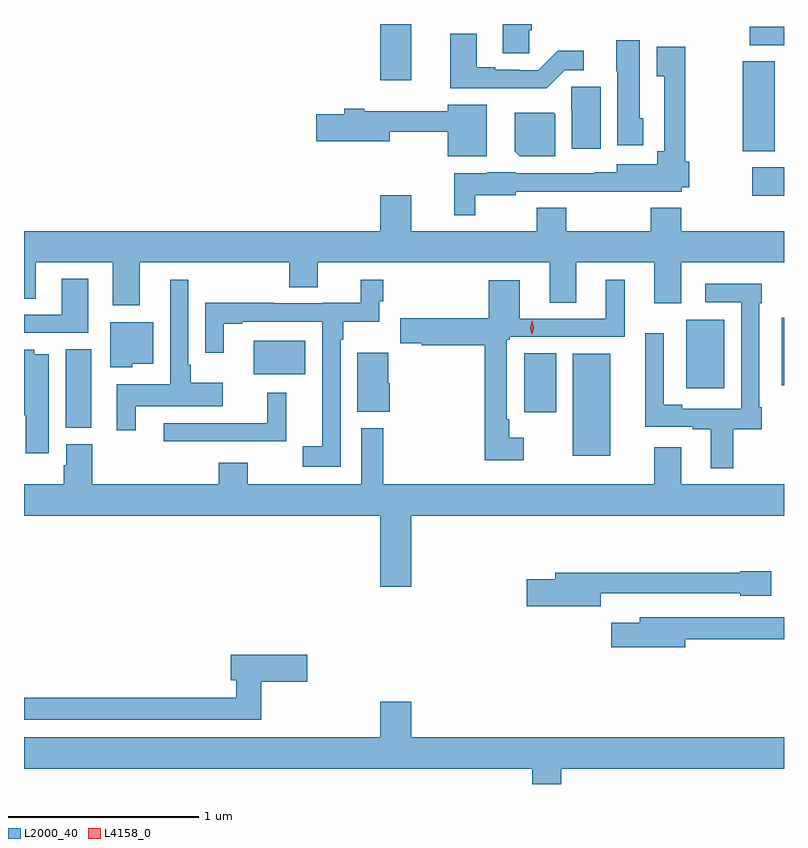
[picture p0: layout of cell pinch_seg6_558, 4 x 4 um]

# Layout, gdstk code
import gdstk
lib = gdstk.Library(unit=1e-6, precision=1e-09)
def R(c, l, rs):  # rectangles x0, y0, x1, y1
    for r in rs: c.add(gdstk.rectangle(r[:2], r[2:], *l))
def P(c, l, *ps):  # polygons
    for p in ps: c.add(gdstk.Polygon(p, *l))
L2000_40 = (2000, 40)
L4158_0 = (4158, 0)

pinch_seg6_558 = lib.new_cell('pinch_seg6_558')
R(pinch_seg6_558, L2000_40, [(585.602,962.303,585.799,962.839), (582.932,962.449,583.066,962.864), (585.347,962.532,585.514,962.843), (586.199,962.657,586.399,963.019), (586.7,962.675,586.713,963.028), (583.922,962.732,584.194,962.908), (586.545,963.671,586.713,963.82), (586.496,963.905,586.663,964.379), (584.588,964.278,584.752,964.575), (586.533,964.464,586.713,964.56)])
P(pinch_seg6_558, L2000_40, [(585.372,964.542),(585.386,964.542),(585.386,964.575),(585.233,964.575),(585.233,964.42),(585.372,964.42)],
  [(585.558,964.332),(585.658,964.332),(585.658,964.435),(585.523,964.435),(585.42,964.332),(585.32,964.332),(585.32,964.335),(585.193,964.335),(585.193,964.348),(585.097,964.348),(585.097,964.525),(584.957,964.525),(584.957,964.238),(585.463,964.238)],
  [(585.971,964.08),(585.955,964.08),(585.955,964.489),(585.83,964.489),(585.83,964.326),(585.836,964.326),(585.836,963.936),(585.971,963.936)],
  [(585.088,963.674),(585.3,963.674),(585.3,963.693),(585.837,963.693),(585.837,963.692),(586.176,963.692),(586.176,963.716),(586.213,963.716),(586.213,963.851),(586.192,963.851),(586.192,964.456),(586.043,964.456),(586.043,964.3),(586.083,964.3),(586.083,963.906),(586.047,963.906),(586.047,963.838),(585.833,963.838),(585.833,963.796),(585.717,963.796),(585.717,963.789),(585.3,963.789),(585.3,963.796),(585.15,963.796),(585.15,963.79),(584.977,963.79),(584.977,963.569),(585.088,963.569)],
  [(585.748,964.245),(585.592,964.245),(585.592,964.122),(585.596,964.122),(585.596,963.918),(585.748,963.918)],
  [(585.148,964.15),(584.942,964.15),(584.942,964.117),(584.503,964.117),(584.503,964.13),(584.399,964.13),(584.399,964.1),(584.25,964.1),(584.25,963.958),(584.638,963.958),(584.638,964.008),(584.942,964.008),(584.942,963.878),(585.148,963.878)],
  [(585.508,964.1),(585.5,964.108),(585.296,964.108),(585.296,963.904),(585.322,963.878),(585.508,963.878)],
  [(582.713,963.13),(582.775,963.13),(582.775,963.32),(583.181,963.32),(583.181,963.096),(583.321,963.096),(583.321,963.32),(584.108,963.32),(584.108,963.19),(584.26,963.19),(584.26,963.32),(585.479,963.32),(585.479,963.109),(585.619,963.109),(585.619,963.32),(586.031,963.32),(586.031,963.105),(586.171,963.105),(586.171,963.32),(586.713,963.32),(586.713,963.484),(586.172,963.484),(586.172,963.607),(586.012,963.607),(586.012,963.484),(585.567,963.484),(585.567,963.608),(585.412,963.608),(585.412,963.484),(584.752,963.484),(584.752,963.673),(584.588,963.673),(584.588,963.484),(582.713,963.484)],
  [(583.051,963.235),(582.911,963.235),(582.911,963.045),(582.713,963.045),(582.713,962.949),(583.051,962.949)],
  [(584.379,962.912),(584.392,962.912),(584.392,963.008),(584.583,963.008),(584.583,963.115),(584.603,963.115),(584.603,963.229),(584.485,963.229),(584.485,963.107),(584.286,963.107),(584.286,963.105),(584.024,963.105),(584.024,963.107),(583.668,963.107),(583.668,962.844),(583.765,962.844),(583.765,962.997),(583.861,962.997),(583.861,963.009),(584.283,963.009),(584.283,962.636),(584.282,962.636),(584.282,962.353),(584.181,962.353),(584.181,962.244),(584.379,962.244)],
  [(583.3,962.564),(583.759,962.564),(583.759,962.686),(583.591,962.686),(583.591,962.782),(583.578,962.782),(583.578,963.229),(583.482,963.229),(583.482,962.68),(583.202,962.68),(583.202,962.436),(583.3,962.436)],
  [(585.343,962.398),(585.268,962.398),(585.268,962.494),(585.255,962.494),(585.255,962.913),(585.27,962.913),(585.27,962.928),(585.874,962.928),(585.874,963.229),(585.776,963.229),(585.776,963.024),(585.322,963.024),(585.322,963.226),(585.158,963.226),(585.158,963.027),(584.694,963.027),(584.694,962.894),(584.806,962.894),(584.806,962.885),(585.139,962.885),(585.139,962.279),(585.343,962.279)],
  [(586.445,962.442),(586.597,962.442),(586.597,962.557),(586.584,962.557),(586.584,963.104),(586.597,963.104),(586.597,963.207),(586.299,963.207),(586.299,963.111),(586.488,963.111),(586.488,962.55),(586.177,962.55),(586.177,962.57),(586.08,962.57),(586.08,962.947),(585.983,962.947),(585.983,962.454),(586.232,962.454),(586.232,962.442),(586.328,962.442),(586.328,962.237),(586.445,962.237)],
  [(583.284,962.786),(583.393,962.786),(583.393,963.004),(583.166,963.004),(583.166,962.768),(583.284,962.768)],
  [(582.844,962.836),(582.768,962.836),(582.768,962.86),(582.713,962.86),(582.713,962.516),(582.722,962.516),(582.722,962.316),(582.844,962.316)],
  [(584.639,962.685),(584.629,962.685),(584.629,962.845),(584.468,962.845),(584.468,962.533),(584.639,962.533)],
  [(584.093,962.635),(583.993,962.635),(583.993,962.475),(583.449,962.475),(583.449,962.379),(584.093,962.379)],
  [(584.752,961.988),(586.713,961.988),(586.713,962.152),(586.171,962.152),(586.171,962.347),(586.031,962.347),(586.031,962.152),(584.603,962.152),(584.603,962.448),(584.487,962.448),(584.487,962.152),(583.891,962.152),(583.891,962.266),(583.739,962.266),(583.739,962.152),(583.071,962.152),(583.071,962.364),(582.935,962.364),(582.935,962.253),(582.923,962.253),(582.923,962.152),(582.713,962.152),(582.713,961.988),(584.588,961.988),(584.588,961.614),(584.752,961.614)],
  [(585.748,961.578),(586.482,961.578),(586.482,961.565),(586.645,961.565),(586.645,961.695),(586.482,961.695),(586.482,961.687),(585.509,961.687),(585.509,961.653),(585.36,961.653),(585.36,961.511),(585.748,961.511)],
  [(586.192,961.336),(586.713,961.336),(586.713,961.452),(585.953,961.452),(585.953,961.423),(585.804,961.423),(585.804,961.294),(586.192,961.294)],
  [(583.961,961.114),(584.203,961.114),(584.203,961.256),(583.802,961.256),(583.802,961.121),(583.829,961.121),(583.829,961.028),(582.713,961.028),(582.713,960.912),(583.961,960.912)],
  [(585.541,960.656),(586.713,960.656),(586.713,960.82),(584.752,960.82),(584.752,961.009),(584.588,961.009),(584.588,960.82),(582.713,960.82),(582.713,960.656),(585.389,960.656),(585.389,960.575),(585.541,960.575)])
P(pinch_seg6_558, L4158_0, [(585.386,962.941),(585.386,962.941),(585.377,962.977),(585.387,963.012),(585.387,963.013),(585.387,963.012),(585.397,962.977),(585.387,962.941)])

lib.write_gds('pinch_seg6_558.gds')
